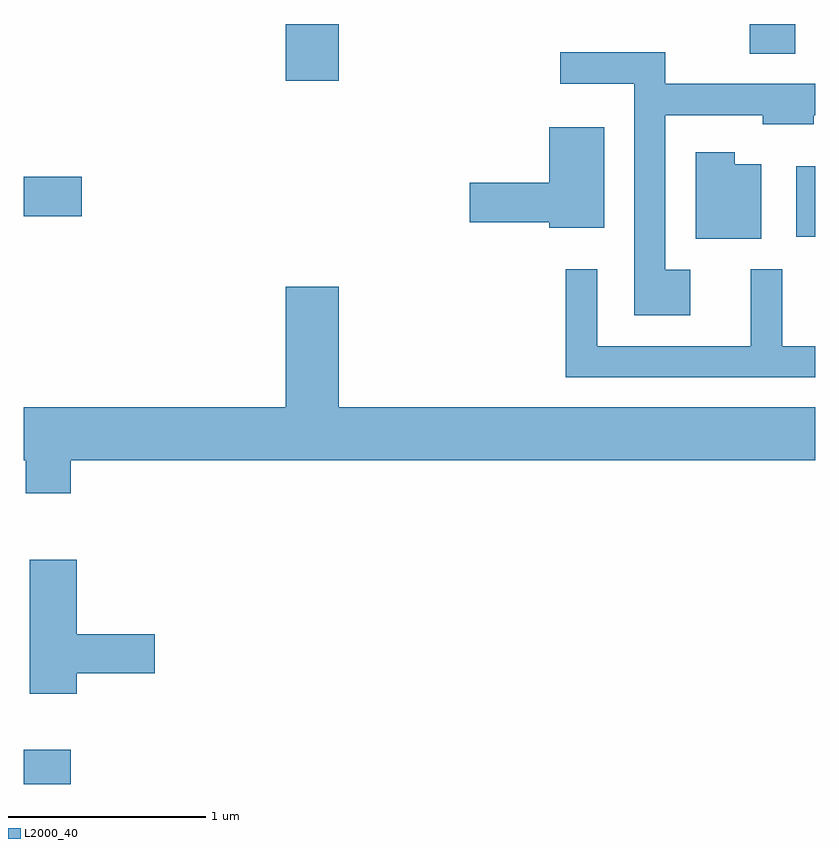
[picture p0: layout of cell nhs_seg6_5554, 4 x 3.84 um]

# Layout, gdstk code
import gdstk
lib = gdstk.Library(unit=1e-6, precision=1e-09)
def R(c, l, rs):  # rectangles x0, y0, x1, y1
    for r in rs: c.add(gdstk.rectangle(r[:2], r[2:], *l))
def P(c, l, *ps):  # polygons
    for p in ps: c.add(gdstk.Polygon(p, *l))
L2000_40 = (2000, 40)

nhs_seg6_5554 = lib.new_cell('nhs_seg6_5554')
R(nhs_seg6_5554, L2000_40, [(353.611,1628.321,353.849,1628.494), (357.516,1631.086,357.611,1631.444), (353.611,1631.191,353.904,1631.389), (354.936,1631.876,355.204,1632.162), (357.281,1632.011,357.509,1632.162)])
P(nhs_seg6_5554, L2000_40, [(356.979,1630.919),(356.854,1630.919),(356.854,1631.701),(357.346,1631.701),(357.346,1631.656),(357.604,1631.656),(357.604,1631.701),(357.611,1631.701),(357.611,1631.859),(356.854,1631.859),(356.854,1632.019),(356.323,1632.019),(356.323,1631.861),(356.696,1631.861),(356.696,1630.691),(356.979,1630.691)],
  [(356.544,1631.639),(356.266,1631.639),(356.266,1631.359),(355.866,1631.359),(355.866,1631.161),(356.266,1631.161),(356.266,1631.131),(356.544,1631.131)],
  [(357.339,1631.454),(357.204,1631.454),(357.204,1631.514),(357.006,1631.514),(357.006,1631.076),(357.339,1631.076)],
  [(357.611,1630.534),(357.444,1630.534),(357.444,1630.923),(357.286,1630.923),(357.286,1630.534),(356.509,1630.534),(356.509,1630.923),(356.351,1630.923),(356.351,1630.376),(357.611,1630.376)],
  [(353.849,1629.956),(357.611,1629.956),(357.611,1630.224),(355.204,1630.224),(355.204,1630.834),(354.936,1630.834),(354.936,1630.224),(353.611,1630.224),(353.611,1629.956),(353.621,1629.956),(353.621,1629.791),(353.849,1629.791)],
  [(353.879,1628.881),(354.274,1628.881),(354.274,1629.079),(353.879,1629.079),(353.879,1629.454),(353.641,1629.454),(353.641,1628.776),(353.879,1628.776)])

lib.write_gds('nhs_seg6_5554.gds')
